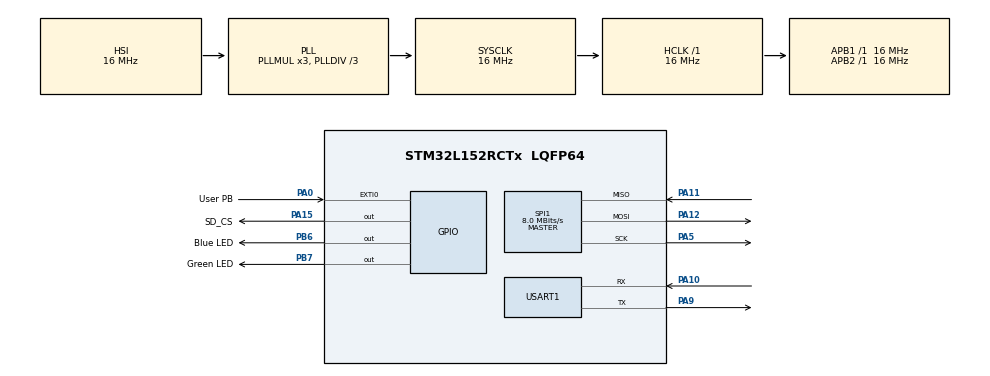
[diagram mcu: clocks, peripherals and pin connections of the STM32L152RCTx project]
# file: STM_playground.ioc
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Mcu.Family=STM32L1
Mcu.Name=STM32L152RCTx
Mcu.Package=LQFP64
NVIC.EXTI0_IRQn=true\:0\:0\:false\:false\:true\:true
NVIC.PriorityGroup=NVIC_PRIORITYGROUP_4
NVIC.TIM2_IRQn=true\:0\:0\:false\:false\:true\:true
PA0-WKUP1.GPIO_Label=User PB
PA0-WKUP1.Signal=GPXTI0
PA10.Mode=Asynchronous
PA10.Signal=USART1_RX
PA11.GPIO_PuPd=GPIO_PULLUP
PA11.Mode=Full_Duplex_Master
PA11.Signal=SPI1_MISO
PA12.Mode=Full_Duplex_Master
PA12.Signal=SPI1_MOSI
PA13.Mode=Serial_Wire
PA13.Signal=SYS_JTMS-SWDIO
PA14.Mode=Serial_Wire
PA14.Signal=SYS_JTCK-SWCLK
PA15.GPIO_Label=SD_CS
PA15.Signal=GPIO_Output
PA5.Mode=Full_Duplex_Master
PA5.Signal=SPI1_SCK
PA9.Mode=Asynchronous
PA9.Signal=USART1_TX
PB6.GPIO_Label=Blue LED
PB6.Signal=GPIO_Output
PB7.GPIO_Label=Green LED
PB7.Signal=GPIO_Output
PC14-OSC32_IN.Mode=LSE-External-Oscillator
PC14-OSC32_IN.Signal=RCC_OSC32_IN
PC15-OSC32_OUT.Mode=LSE-External-Oscillator
PC15-OSC32_OUT.Signal=RCC_OSC32_OUT
ProjectManager.HeapSize=0x200
ProjectManager.StackSize=0x400
ProjectManager.TargetToolchain=TrueSTUDIO
RCC.48MHZClocksFreq_Value=24000000
RCC.AHBFreq_Value=16000000
RCC.APB1Freq_Value=16000000
RCC.APB1TimFreq_Value=16000000
RCC.APB2Freq_Value=16000000
RCC.APB2TimFreq_Value=16000000
RCC.HCLKFreq_Value=16000000
RCC.HSE_VALUE=24000000
RCC.HSI_VALUE=16000000
RCC.MSI_VALUE=2097000
RCC.PLLDIV=RCC_PLL_DIV3
RCC.SYSCLKFreq_VALUE=16000000
RCC.SYSCLKSource=RCC_SYSCLKSOURCE_PLLCLK
RCC.VCOOutputFreq_Value=48000000
SPI1.CalculateBaudRate=8.0 MBits/s
SPI1.Direction=SPI_DIRECTION_2LINES
SPI1.Mode=SPI_MODE_MASTER
SPI1.VirtualType=VM_MASTER
TIM2.Period=499
TIM2.Prescaler=63999
TIM2.TIM_MasterOutputTrigger=TIM_TRGO_RESET
USART1.VirtualMode=VM_ASYNC
VP_RTC_VS_RTC_Activate.Mode=RTC_Enabled
VP_TIM2_VS_ClockSourceINT.Mode=Internal
board=STM_playground

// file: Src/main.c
/**
  ******************************************************************************
  * @file           : main.c
  * @brief          : Main program body
  ******************************************************************************
  ** This notice applies to any and all portions of this file
  * that are not between comment pairs USER CODE BEGIN and
  * USER CODE END. Other portions of this file, whether
  * inserted by the user or by software development tools
  * are owned by their respective copyright owners.
  *
  * COPYRIGHT(c) 2018 STMicroelectronics
  *
  * Redistribution and use in source and binary forms, with or without modification,
  * are permitted provided that the following conditions are met:
  *   1. Redistributions of source code must retain the above copyright notice,
  *      this list of conditions and the following disclaimer.
  *   2. Redistributions in binary form must reproduce the above copyright notice,
  *      this list of conditions and the following disclaimer in the documentation
  *      and/or other materials provided with the distribution.
  *   3. Neither the name of STMicroelectronics nor the names of its contributors
  *      may be used to endorse or promote products derived from this software
  *      without specific prior written permission.
  *
  * THIS SOFTWARE IS PROVIDED BY THE COPYRIGHT HOLDERS AND CONTRIBUTORS "AS IS"
  * AND ANY EXPRESS OR IMPLIED WARRANTIES, INCLUDING, BUT NOT LIMITED TO, THE
  * IMPLIED WARRANTIES OF MERCHANTABILITY AND FITNESS FOR A PARTICULAR PURPOSE ARE
  * DISCLAIMED. IN NO EVENT SHALL THE COPYRIGHT HOLDER OR CONTRIBUTORS BE LIABLE
  * FOR ANY DIRECT, INDIRECT, INCIDENTAL, SPECIAL, EXEMPLARY, OR CONSEQUENTIAL
  * DAMAGES (INCLUDING, BUT NOT LIMITED TO, PROCUREMENT OF SUBSTITUTE GOODS OR
  * SERVICES; LOSS OF USE, DATA, OR PROFITS; OR BUSINESS INTERRUPTION) HOWEVER
  * CAUSED AND ON ANY THEORY OF LIABILITY, WHETHER IN CONTRACT, STRICT LIABILITY,
  * OR TORT (INCLUDING NEGLIGENCE OR OTHERWISE) ARISING IN ANY WAY OUT OF THE USE
  * OF THIS SOFTWARE, EVEN IF ADVISED OF THE POSSIBILITY OF SUCH DAMAGE.
  *
  ******************************************************************************
  */
#include "main.h"
#include "stm32l1xx_hal.h"
#include "rtc.h"
#include "spi.h"
#include "tim.h"
#include "usart.h"
#include "gpio.h"

/* USER CODE BEGIN Includes */
#include <string.h>
#include <stdlib.h>
#include <stdio.h>
#include <errno.h>
#include <sys/unistd.h>

#include "mysd/mysd.h"
#include "fnv/fnv.h"
/* USER CODE END Includes */

/* USER CODE BEGIN PV */
/* Private variables ---------------------------------------------------------*/

/* USER CODE END PV */

void SystemClock_Config(void);

/* USER CODE BEGIN PFP */
/* Private function prototypes -----------------------------------------------*/

/* USER CODE END PFP */

/* USER CODE BEGIN 0 */

int _write(int file, char *data, int len) {
	if ((file != STDOUT_FILENO) && (file != STDERR_FILENO)) {
		errno = EBADF;
		return -1;
	}

	HAL_StatusTypeDef status = HAL_UART_Transmit(&huart1, (uint8_t*) data, len, 0xFFFF);

	// return # of bytes written - as best we can tell
	return (status == HAL_OK ? len : 0);
}

void print_buf(uint8_t* buffer, size_t buf_size) {
	const uint8_t line_length = 16;
	for(int i = 0; i < (buf_size / line_length); i++) {
		for(int j = 0; j < line_length; j++)
			printf("%02X", buffer[(i * line_length) + j]);
		printf("\r\n");
	}

	if(buf_size % 16) {
		for(int k = 0; k < buf_size % line_length; k++)
			printf("%02X", buffer[((buf_size / line_length) * line_length) + k]);
		printf("\r\n");
	}
}

/* USER CODE END 0 */

int main(void)
{

  /* MCU Configuration----------------------------------------------------------*/

  /* Reset of all peripherals, Initializes the Flash interface and the Systick. */
  HAL_Init();

  /* Configure the system clock */
  SystemClock_Config();

  /* Initialize all configured peripherals */
  MX_GPIO_Init();
  MX_USART1_UART_Init();
  MX_TIM2_Init();
  MX_RTC_Init();
  MX_SPI1_Init();
  /* USER CODE BEGIN 2 */

/*	 We only want the timer to run after we push the button and light the LED,
	 so immediately stop it. For some reason, initializing the timer sets the
	 interrupt update bit, meaning as soon as we start up the timer after the
	 first button press, it raises the interrupt, immediately turning the LED
	 back off. This is fixed by clearing the interrupt bit after we stop it,
	 before the first run of the timer. Setting the counter to 0 isn't necessary,
	 as that's done in the button's interrupt handler.

	HAL_TIM_Base_Stop_IT(&htim2);
	__HAL_TIM_CLEAR_IT(&htim2, TIM_IT_UPDATE);

	// Delay to allow SD card to get set up internally.
	HAL_Delay(1000);
*/

  // Create a null pointer to a `mysd`, to be malloc'd upon request (see: cin == 'i')
  // and populated by `sd_init`
  mysd _sd = {0};
  mysd* sd = &_sd; // because I'm lazy and don't want a hundred address-of's
  uint8_t fnvtest1[] = { 'a', 'b', 'c', 'd' };
  uint8_t fnvtest2[] = { 'a', 'b', 'c', 'd', '\n' };

  printf("sizeof short=%d, int=%d, long=%d, long long=%d\r\n",sizeof(short), sizeof(int), sizeof(long), sizeof(long long));
  printf("fnv1 'abcd' with null %lx#, without %lx#\r\n", fnv1a_32(fnvtest2, 5), fnv1a_32(fnvtest1, 4));

  /* USER CODE END 2 */

  /* Infinite loop */
  /* USER CODE BEGIN WHILE */
	uint8_t cin;
	while (1) {
		HAL_UART_Receive(&huart1, &cin, 1, 0xFFFFFF);

		if(cin == 'i') { // [i]nitialize SD
			printf("Initializing mySD... [%d]\r\n", sd_init(sd)); // otherwise this call will fail!
		} else if(cin == 's') { // [s]ave data
			printf("Saving data... [%d]\r\n", save_data(sd));
		} else if(cin == 'r') { // [r]eset sd instance
			printf("Forcing reset...\r\n");
			sd_reset(sd);
		} else if(cin == 'g') { // [g]et next packet
			printf("Getting next packet...\r\n");

			uint8_t p_buf[SD_PACKET_SIZE] = {0};

			uint32_t start_time = HAL_GetTick();
			int32_t p_size = get_next_packet(p_buf, sd);
			uint32_t stop_time = HAL_GetTick();

			printf("%s [%lu - took %lu ms]\r\n", p_buf, p_size, stop_time - start_time);
		} else if(cin == 'x') { // [g]et next packet
			printf("Getting next packet (hex)...\r\n");

			uint8_t p_buf[SD_PACKET_SIZE] = {0};

			uint32_t start_time = HAL_GetTick();
			int32_t p_size = get_next_packet(p_buf, sd);
			uint32_t stop_time = HAL_GetTick();

			if(p_size)
				printf("ERR [%ld]\r\n", p_size);

			print_buf(p_buf, sizeof p_buf);
			printf("\r\n[%lu - took %lu ms]\r\n", p_size, stop_time - start_time);
		} else if(cin == 'w') { // w = input a string to be added to the packet file
			uint8_t s_buffer[512];
			uint16_t s_i = 0;
			do { // we must assemble our own strings from individual characters, done in this loop
				HAL_UART_Receive(&huart1, &cin, 1, 0xFFFFFF);
				if(cin == '\r' || cin == '\n')
					break; // while is just to provide an upper limit, this is the useful break
				s_buffer[s_i++] = cin; // collect value then increment
				HAL_UART_Transmit(&huart1, &cin, 1, 0xFFFFFF); // echo input back to user
			} while (s_i < (sizeof s_buffer) - 1);
			s_buffer[s_i] = '\0';

			printf("\rWriting: \"%s\" ... [%d]\r\n", (char*)s_buffer, write_next_packet(s_buffer, strlen((char*)s_buffer), sd));
		} else if(cin == 'f') {
			printf("Filling 1000 random packets... [%lu]\r\n", HAL_GetTick());

			uint8_t rand_buf[SD_PACKET_SIZE];
			srand(HAL_GetTick());
			for(int i = 0; i < 1000; i++) {
				for(uint8_t j = 0; j < SD_PACKET_SIZE; j++)
					rand_buf[j] = rand() % 0x0100;

				write_next_packet(rand_buf, sizeof rand_buf, sd);
			}

			printf("Done! [%lu]\r\n", HAL_GetTick());
		} else if(cin == 'u') {
			printf("Filling 1000 sequential packets... [%lu]\r\n", HAL_GetTick());

			uint8_t num_buf[SD_PACKET_SIZE] = {0};
			for(int i = 0; i < 1000; i++) {
				snprintf((char*)num_buf, sizeof num_buf, "test packet #%lu", sd->w_head);
				write_next_packet(num_buf, sizeof num_buf, sd);
			}

			printf("Done! [%lu]\r\n", HAL_GetTick());
		} else if(cin == 'c') {
			uint8_t s_buffer[SD_PACKET_SIZE] = {0};
			snprintf((char*)s_buffer, sizeof s_buffer, "test packet #%lu", sd->w_head);
			uint32_t start_time = HAL_GetTick();
			uint8_t res = write_next_packet(s_buffer, sizeof s_buffer, sd);
			printf("\rWriting: \"%s\" ... [%d]. Took %lu ms.\r\n", (char*)s_buffer, res, HAL_GetTick() - start_time);
		} else if(cin == '+') {
			const static uint32_t howmany = 20000;

			uint8_t pak_buf[SD_PACKET_SIZE] = {0};
			uint8_t res = 0;

			sd->r_head = sd->w_head;

			printf("Beginning %lu packet R/W test...\r\n", howmany);
			uint32_t start_time = HAL_GetTick();

			for(uint32_t i = 0; i < howmany; i++) {
//				memset(pak_buf, 0, MSD_PACKET_SIZE);
				for(uint8_t j = 0; j < SD_PACKET_SIZE - (sizeof howmany - 1); j += sizeof howmany) {
					pak_buf[j] = (i >> 24) & 0xFF;
					pak_buf[j+1] = (i >> 16) & 0xFF;
					pak_buf[j+2] = (i >> 8) & 0xFF;
					pak_buf[j+3] = i & 0xFF;
				}

				res = write_next_packet(pak_buf, sizeof pak_buf, sd);
				if(res) {
					printf("Write fail on packet %lu!\r\n", i);
					break;
				}

				if(i % 1000 == 0 && i > 0)
					printf("%lu @ %lu ms.\r\n", i, HAL_GetTick() - start_time);
			}

			printf("Writes done! %lu packets took %lu ms. Beginning reads...\r\n", howmany, HAL_GetTick() - start_time);
			start_time = HAL_GetTick();

			for(uint32_t i = 0; i < howmany; i++) {
				uint32_t test = 0;

//				memset(pak_buf, 0, MSD_PACKET_SIZE);
				int32_t p_size = get_next_packet(pak_buf, sd);
				if(p_size) {
					printf("Read fail on packet %lu!\r\n", i);
					break;
				}

				for(uint8_t j = 0; j < SD_PACKET_SIZE - (sizeof howmany - 1); j += sizeof howmany) {
					test = (uint16_t)pak_buf[j] << 24 | (uint16_t)pak_buf[j+1] << 16
							| (uint16_t)pak_buf[j+2] << 8 | (uint16_t)pak_buf[j+3];
					if(test != i) {
						printf("Read fail on packet %lu!\r\n", i);
						i = howmany;
						break;
					}
				}

				if(i % 1000 == 0 && i > 0)
					printf("%lu @ %lu ms.\r\n", i, HAL_GetTick() - start_time);
			}

			printf("Reads done! %lu packets took %lu ms.\r\n", howmany, HAL_GetTick() - start_time);
		} else if(cin == 'h') { // get [h]eads
				printf("R/W heads are at: R = <%lu>, W = <%lu>\r\n", (uint32_t)sd->r_head, (uint32_t)sd->w_head);
		} else if(cin == 'z') { // [z]ero heads
				printf("Heads zeroed! R = <%lu> W = <%lu>\r\n", (uint32_t)(sd->r_head = 0), (uint32_t)(sd->w_head = 0));
		} else if(cin == '/') { // / = increment R head
			printf("R = <%lu>\r\n", (uint32_t)(++(sd->r_head)));
		} else if(cin == '.') { // . = reset R head to 0
			printf("R = <%lu>\r\n", (uint32_t)(sd->r_head = 0));
		} else if(cin == '\'') { // ' = increment W head
			printf("W = <%lu>\r\n", (uint32_t)(++(sd->w_head)));
		} else if(cin == ';') { // ; = reset W head to 0
			printf("W = <%lu>\r\n", (uint32_t)(sd->w_head = 0));
		}

  /* USER CODE END WHILE */

	}

}

void SystemClock_Config(void)
{

  RCC_OscInitTypeDef RCC_OscInitStruct;
  RCC_ClkInitTypeDef RCC_ClkInitStruct;
  RCC_PeriphCLKInitTypeDef PeriphClkInit;

    /**Configure the main internal regulator output voltage
    */
  __HAL_PWR_VOLTAGESCALING_CONFIG(PWR_REGULATOR_VOLTAGE_SCALE1);

    /**Initializes the CPU, AHB and APB busses clocks
    */
  RCC_OscInitStruct.OscillatorType = RCC_OSCILLATORTYPE_HSI|RCC_OSCILLATORTYPE_LSI;
  RCC_OscInitStruct.HSIState = RCC_HSI_ON;
  RCC_OscInitStruct.HSICalibrationValue = 16;
  RCC_OscInitStruct.LSIState = RCC_LSI_ON;
  RCC_OscInitStruct.PLL.PLLState = RCC_PLL_ON;
  RCC_OscInitStruct.PLL.PLLSource = RCC_PLLSOURCE_HSI;
  RCC_OscInitStruct.PLL.PLLMUL = RCC_PLL_MUL3;
  RCC_OscInitStruct.PLL.PLLDIV = RCC_PLL_DIV3;
  if (HAL_RCC_OscConfig(&RCC_OscInitStruct) != HAL_OK)
  {
    _Error_Handler(__FILE__, __LINE__);
  }

    /**Initializes the CPU, AHB and APB busses clocks
    */
  RCC_ClkInitStruct.ClockType = RCC_CLOCKTYPE_HCLK|RCC_CLOCKTYPE_SYSCLK
                              |RCC_CLOCKTYPE_PCLK1|RCC_CLOCKTYPE_PCLK2;
  RCC_ClkInitStruct.SYSCLKSource = RCC_SYSCLKSOURCE_PLLCLK;
  RCC_ClkInitStruct.AHBCLKDivider = RCC_SYSCLK_DIV1;
  RCC_ClkInitStruct.APB1CLKDivider = RCC_HCLK_DIV1;
  RCC_ClkInitStruct.APB2CLKDivider = RCC_HCLK_DIV1;

  if (HAL_RCC_ClockConfig(&RCC_ClkInitStruct, FLASH_LATENCY_0) != HAL_OK)
  {
    _Error_Handler(__FILE__, __LINE__);
  }

  PeriphClkInit.PeriphClockSelection = RCC_PERIPHCLK_RTC;
  PeriphClkInit.RTCClockSelection = RCC_RTCCLKSOURCE_LSI;
  if (HAL_RCCEx_PeriphCLKConfig(&PeriphClkInit) != HAL_OK)
  {
    _Error_Handler(__FILE__, __LINE__);
  }

    /**Configure the Systick interrupt time
    */
  HAL_SYSTICK_Config(HAL_RCC_GetHCLKFreq()/1000);

    /**Configure the Systick
    */
  HAL_SYSTICK_CLKSourceConfig(SYSTICK_CLKSOURCE_HCLK);

  /* SysTick_IRQn interrupt configuration */
  HAL_NVIC_SetPriority(SysTick_IRQn, 0, 0);
}

void _Error_Handler(char *file, int line)
{
  while(1)
  {
  }
}

/************************ (C) COPYRIGHT STMicroelectronics *****END OF FILE****/
